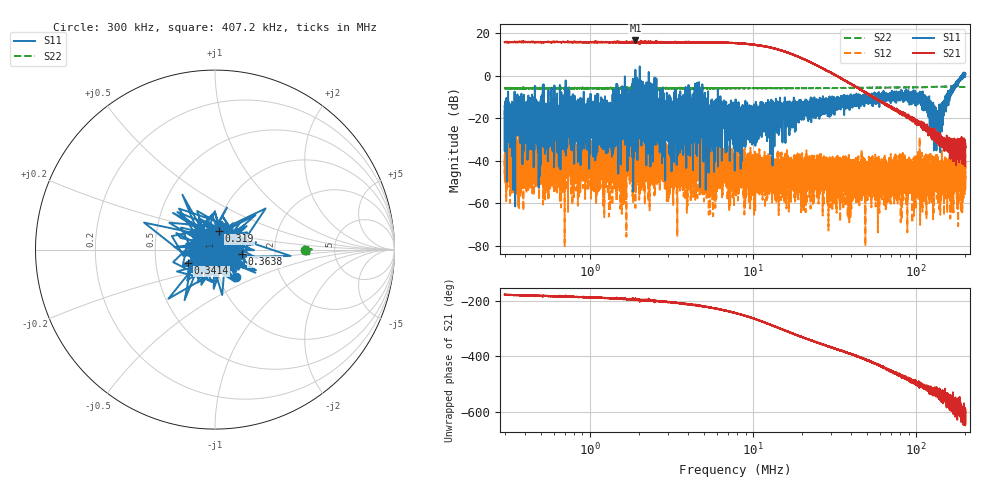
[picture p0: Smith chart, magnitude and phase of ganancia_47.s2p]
# Hz S DB R 50
! CMT, M5065, 19127446, 24.2.4/2
! Date: 11/1/2024 4:43:13 PM
! Data: Format (Calibration Info)
! Freq	S11:dB/Ang(F2)	S21:dB/Ang(F2)	S12:dB/Ang(F2)	S22:dB/Ang(F2)
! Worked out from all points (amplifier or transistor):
!   9000 points, 300 kHz to 200 MHz, reference 50 ohm
!   highest |S21| = 16.6 dB at 1.899 MHz (marker M1)
!   |S21| within 3 dB of that: start of sweep to 12.16 MHz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
!   unconditionally stable (mu >= 1): 606 kHz to 1.638 MHz; 2.608 MHz to 4.41 MHz; 4.835 MHz to 190.9 MHz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
!   at 886.8 kHz: K = 8.11, MAG = 17.2 dB, |S12| = -42.7 dB
!   at 7.749 MHz: K = 8.77, MAG = 16.8 dB, |S12| = -43.1 dB
!   at 200 MHz: K = -956.06, MSG = 9.2 dB, |S12| = -50.4 dB
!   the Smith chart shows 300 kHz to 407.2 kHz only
!   S11 on the Smith chart (normalised r, x): 300 kHz: 1.20, -0.38; 319 kHz: 1.02, +0.21; 341.4 kHz: 0.73, -0.11; 363.8 kHz: 1.35, -0.07; 407.2 kHz: 0.82, +0.06
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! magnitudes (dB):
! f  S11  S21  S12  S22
! 300 kHz  -14.4  15.8  -39.0  -5.9
! 319 kHz  -19.6  15.8  -38.8  -5.9
! 341.4 kHz  -15.6  15.9  -49.5  -5.9
! 363.8 kHz  -16.4  15.8  -30.6  -5.7
! 407.2 kHz  -19.9  15.9  -43.6  -5.9
! 886.8 kHz  -27.6  15.9  -42.7  -5.8
! 1.259 MHz  -32.5  15.8  -39.4  -5.8
! 1.637 MHz  -17.7  15.7  -34.7  -6.0
! 1.899 MHz  2.8  16.6  -62.2  -5.9
! 2.621 MHz  -26.3  15.8  -22.9  -6.6
! 3.684 MHz  -21.5  15.8  -44.0  -5.9
! 4.032 MHz  -24.8  15.7  -48.7  -5.9
! 4.306 MHz  -13.1  15.8  -43.7  -5.8
! 7.749 MHz  -15.7  15.4  -43.1  -5.9
! 13.52 MHz  -18.0  12.8  -43.7  -5.8
! 22.91 MHz  -17.6  6.0  -42.5  -5.8
! 67.71 MHz  -10.3  -14.1  -54.2  -5.6
! 104 MHz  -11.2  -23.2  -46.3  -5.5
! 118.1 MHz  -18.2  -24.3  -41.6  -5.4
! 132 MHz  -20.4  -27.1  -47.9  -5.2
! 167.1 MHz  -7.0  -33.7  -43.7  -5.2
! 200 MHz  0.8  -31.9  -50.4  -5.3
